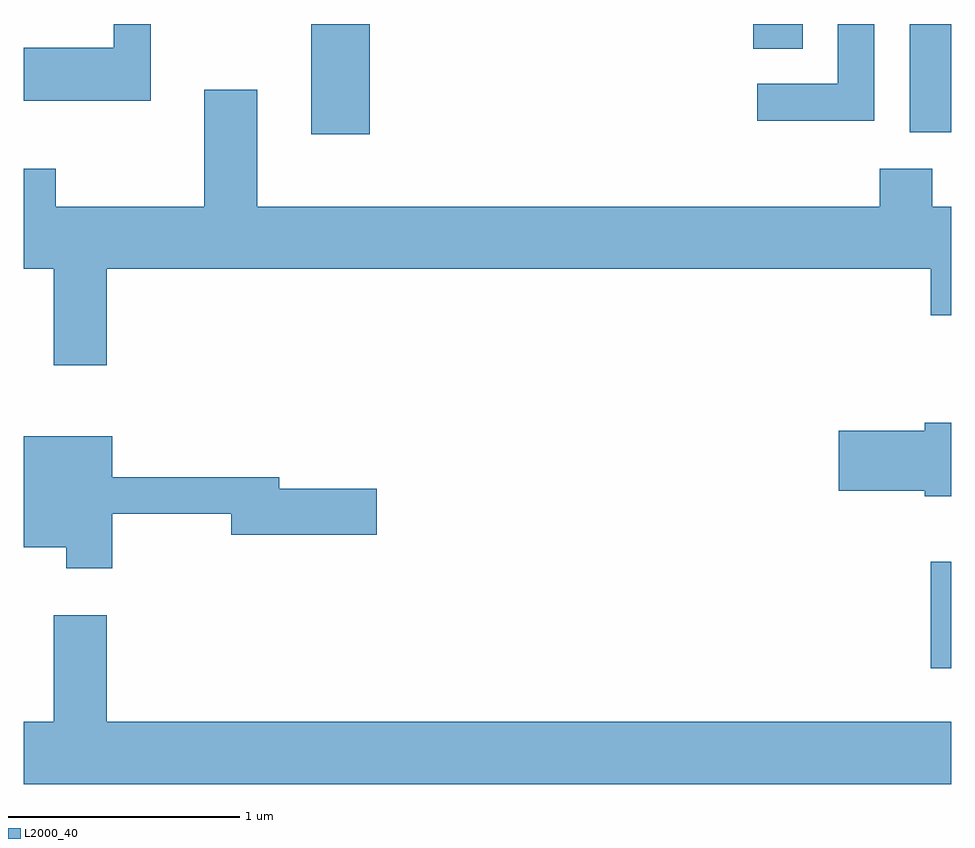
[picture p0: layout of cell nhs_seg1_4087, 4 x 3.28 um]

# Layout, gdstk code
import gdstk
lib = gdstk.Library(unit=1e-6, precision=1e-09)
def R(c, l, rs):  # rectangles x0, y0, x1, y1
    for r in rs: c.add(gdstk.rectangle(r[:2], r[2:], *l))
def P(c, l, *ps):  # polygons
    for p in ps: c.add(gdstk.Polygon(p, *l))
L2000_40 = (2000, 40)

nhs_seg1_4087 = lib.new_cell('nhs_seg1_4087')
R(nhs_seg1_4087, L2000_40, [(311.521,928.936,311.611,929.394), (308.851,931.236,309.104,931.712), (311.431,931.246,311.611,931.712), (310.756,931.606,310.969,931.712)])
P(nhs_seg1_4087, L2000_40, [(308.159,931.712),(308.001,931.712),(308.001,931.609),(307.611,931.609),(307.611,931.381),(308.159,931.381)],
  [(311.279,931.712),(311.121,931.712),(311.121,931.454),(310.773,931.454),(310.773,931.296),(311.279,931.296)],
  [(307.611,930.656),(307.741,930.656),(307.741,930.241),(307.969,930.241),(307.969,930.656),(311.521,930.656),(311.521,930.456),(311.611,930.456),(311.611,930.924),(311.529,930.924),(311.529,931.089),(311.301,931.089),(311.301,930.924),(308.619,930.924),(308.619,931.429),(308.391,931.429),(308.391,930.924),(307.749,930.924),(307.749,931.089),(307.611,931.089)],
  [(311.611,929.994),(311.496,929.994),(311.496,929.959),(311.126,929.959),(311.126,929.701),(311.496,929.701),(311.496,929.676),(311.611,929.676)],
  [(307.994,929.601),(308.506,929.601),(308.506,929.511),(309.134,929.511),(309.134,929.709),(308.714,929.709),(308.714,929.759),(307.994,929.759),(307.994,929.934),(307.611,929.934),(307.611,929.456),(307.796,929.456),(307.796,929.366),(307.994,929.366)],
  [(311.611,928.704),(307.969,928.704),(307.969,929.164),(307.741,929.164),(307.741,928.704),(307.611,928.704),(307.611,928.436),(311.611,928.436)])

lib.write_gds('nhs_seg1_4087.gds')
